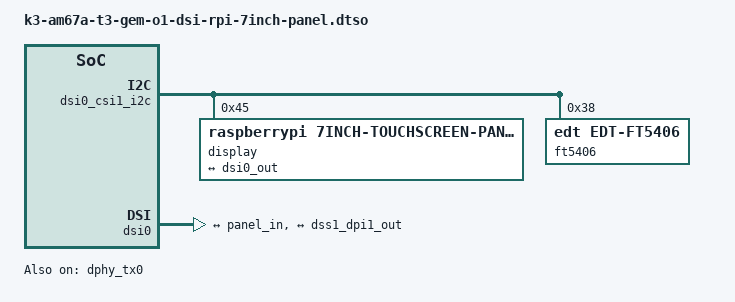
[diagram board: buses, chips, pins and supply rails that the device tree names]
// SPDX-License-Identifier: GPL-2.0-only
/*
 * T3 Gemstone O1 Raspberry Pi 7-inch DSI touchscreen overlay
 *
 * Copyright (C) 2023 Texas Instruments Incorporated - https://www.ti.com/
 */

/dts-v1/;
/plugin/;

&mipi_switch_oe {
	default-state = "off";
};

&mipi_switch_sel {
	default-state = "off";
};

&dphy_tx0 {
	status = "okay";
};

&dsi0_csi1_i2c {
	#address-cells = <1>;
	#size-cells = <0>;

	display@45 {
		compatible = "raspberrypi,7inch-touchscreen-panel";
		reg = <0x45>;

		port {
			panel_in: endpoint {
				remote-endpoint = <&dsi0_out>;
			};
		};
	};

	ft5406: touchscreen@38 {
		compatible = "edt,edt-ft5406";
		reg = <0x38>;
		touchscreen-size-x = <800>;
		touchscreen-size-y = <480>;

		touchscreen-inverted-x;
		touchscreen-inverted-y;
	};
};

&dsi0 {
	status = "okay";

	ports {
		#address-cells = <1>;
		#size-cells = <0>;

		port@0 {
			reg = <0>;

			dsi0_out: endpoint {
				remote-endpoint = <&panel_in>;
			};
		};

		port@1 {
			reg = <1>;

			dsi0_in: endpoint {
				remote-endpoint = <&dss1_dpi1_out>;
			};
		};
	};
};

&dss1_ports {
	#address-cells = <1>;
	#size-cells = <0>;

	port@1 {
		reg = <1>;

		dss1_dpi1_out: endpoint {
			remote-endpoint = <&dsi0_in>;
		};
	};
};
